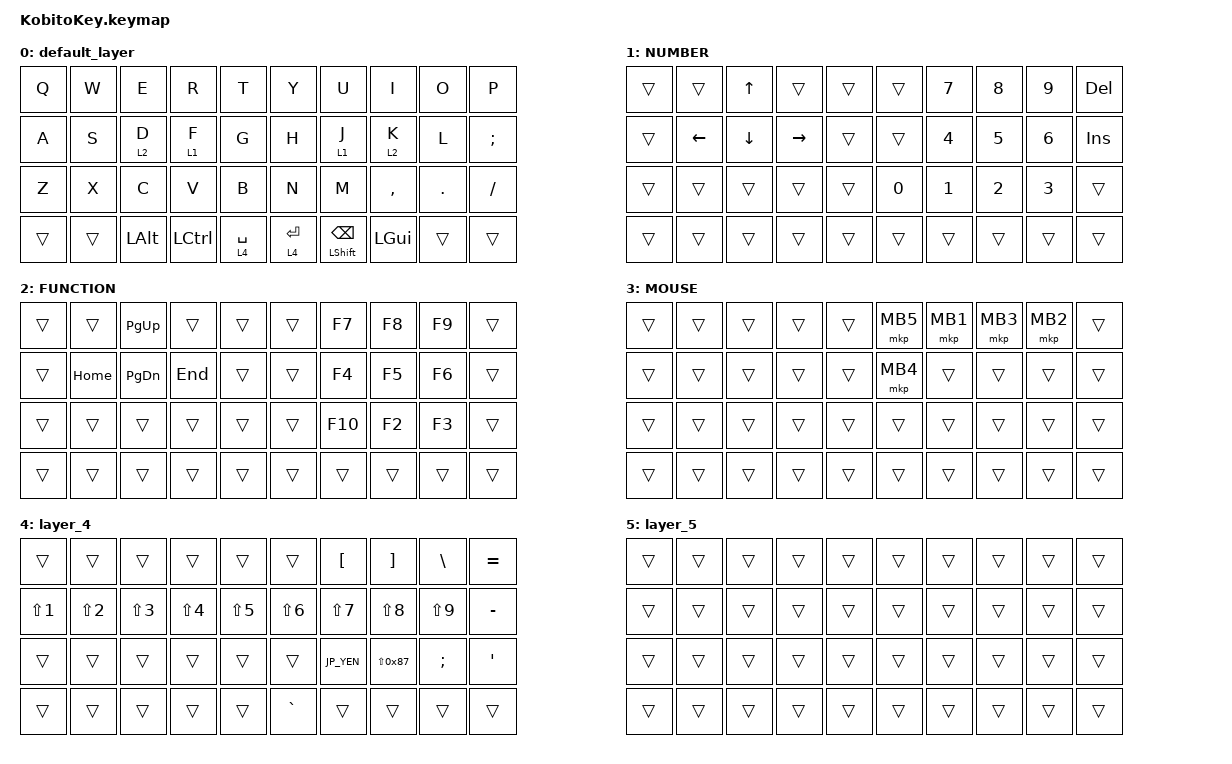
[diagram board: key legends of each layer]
#include <input/processors.dtsi>
#include <behaviors.dtsi>
#include <dt-bindings/zmk/keys.h>
#include <dt-bindings/zmk/pointing.h>

#define JP_YEN          0x89              // ¥
#define JP_PIPE         LS(0x89)          // |
#define JP_UNDERSCORE   LS(0x87)          // _

/ {
    combos {
        compatible = "zmk,combos";

        combo_esc {
            timeout-ms = <50>;
            key-positions = <0 1>;
            bindings = <&kp ESC>;
        };

        combo_tab {
            timeout-ms = <50>;
            key-positions = <10 11>;
            bindings = <&kp TAB>;
        };

        shift {
            bindings = <&kp LEFT_SHIFT>;
            key-positions = <20 21>;
        };
    };

    keymap {
        compatible = "zmk,keymap";

        default_layer {
            bindings = <
&kp Q   &kp W   &kp E         &kp R             &kp T        &kp Y        &kp U                     &kp I         &kp O    &kp P
&kp A   &kp S   &lt 2 D       &lt 1 F           &kp G        &kp H        &lt 1 J                   &lt 2 K       &kp L    &kp SEMI
&kp Z   &kp X   &kp C         &kp V             &kp B        &kp N        &kp M                     &kp COMMA     &kp DOT  &kp SLASH
&trans  &trans  &kp LEFT_ALT  &kp LEFT_CONTROL  &lt 4 SPACE  &lt 4 ENTER  &mt LEFT_SHIFT BACKSPACE  &kp LEFT_GUI  &trans   &trans
            >;
        };

        layer1 {
            label = "NUMBER";
            bindings = <
&trans  &trans    &kp UP_ARROW    &trans     &trans  &trans  &kp N7        &kp N8        &kp N9        &kp DEL
&trans  &kp LEFT  &kp DOWN_ARROW  &kp RIGHT  &trans  &trans  &kp NUMBER_4  &kp NUMBER_5  &kp NUMBER_6  &kp INS
&trans  &trans    &trans          &trans     &trans  &kp N0  &kp NUMBER_1  &kp NUMBER_2  &kp NUMBER_3  &trans
&trans  &trans    &trans          &trans     &trans  &trans  &trans        &trans        &trans        &trans
            >;
        };

        layer2 {
            label = "FUNCTION";
            bindings = <
&trans  &trans    &kp PG_UP      &trans   &trans  &trans  &kp F7   &kp F8  &kp F9  &trans
&trans  &kp HOME  &kp PAGE_DOWN  &kp END  &trans  &trans  &kp F4   &kp F5  &kp F6  &trans
&trans  &trans    &trans         &trans   &trans  &trans  &kp F10  &kp F2  &kp F3  &trans
&trans  &trans    &trans         &trans   &trans  &trans  &trans   &trans  &trans  &trans
            >;
        };

        layer3 {
            label = "MOUSE";
            bindings = <
&trans  &trans  &trans  &trans  &trans  &mkp MB5  &mkp MB1  &mkp MB3  &mkp MB2  &trans
&trans  &trans  &trans  &trans  &trans  &mkp MB4  &trans    &trans    &trans    &trans
&trans  &trans  &trans  &trans  &trans  &trans    &trans    &trans    &trans    &trans
&trans  &trans  &trans  &trans  &trans  &trans    &trans    &trans    &trans    &trans
            >;
        };

        layer_4 {
            bindings = <
&trans            &trans      &trans      &trans      &trans      &trans      &kp LEFT_BRACKET  &kp RIGHT_BRACKET  &kp BACKSLASH  &kp EQUAL
&kp LS(NUMBER_1)  &kp LS(N2)  &kp LS(N3)  &kp LS(N4)  &kp LS(N5)  &kp LS(N6)  &kp LS(N7)        &kp LS(N8)         &kp LS(N9)     &kp MINUS
&trans            &trans      &trans      &trans      &trans      &trans      &kp JP_YEN        &kp JP_UNDERSCORE  &kp SEMICOLON  &kp APOS
&trans            &trans      &trans      &trans      &trans      &kp GRAVE   &trans            &trans             &trans         &trans
            >;
        };

        layer_5 {
            bindings = <
&trans  &trans  &trans  &trans  &trans  &trans  &trans  &trans  &trans  &trans
&trans  &trans  &trans  &trans  &trans  &trans  &trans  &trans  &trans  &trans
&trans  &trans  &trans  &trans  &trans  &trans  &trans  &trans  &trans  &trans
&trans  &trans  &trans  &trans  &trans  &trans  &trans  &trans  &trans  &trans
            >;
        };
    };
};
